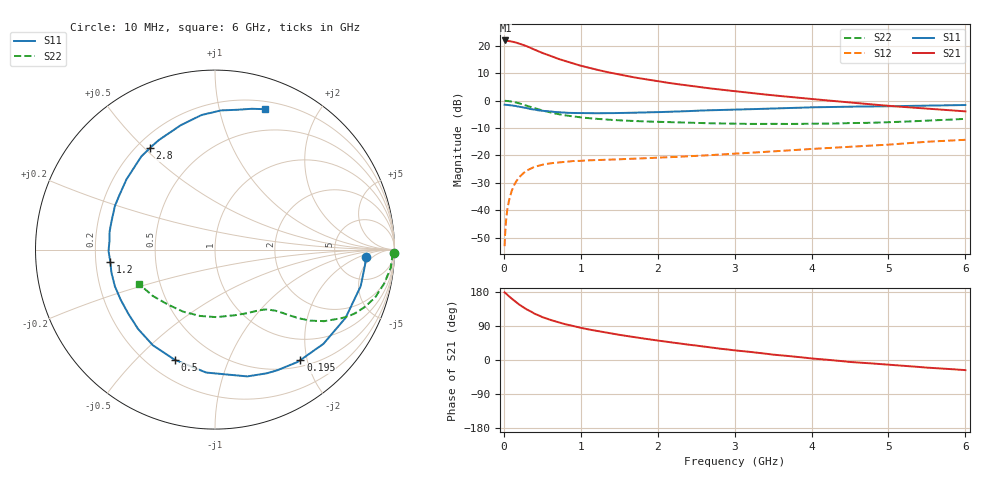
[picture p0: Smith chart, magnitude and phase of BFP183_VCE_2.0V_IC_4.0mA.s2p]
! Infineon Technologies  Discrete & RF Semiconductors
! BFP183
! VCE = 2.0 V,  IC =  4.0 mA
! Common Emitter S-Parameters:  Jan 2016
# GHz  S  MA  R  50
!  f  S11  S21  S12  S22
! GHz  MAG  ANG  MAG  ANG  MAG  ANG  MAG  ANG
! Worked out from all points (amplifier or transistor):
!   210 points, 10 MHz to 6 GHz, reference 50 ohm
!   highest |S21| = 22.0 dB at 20 MHz (marker M1)
!   |S21| within 3 dB of that: start of sweep to 370.5 MHz
!   unconditionally stable (mu >= 1): 1.662 GHz to 5.81 GHz
!   at 185 MHz: K = 0.14, MSG = 24.8 dB, |S12| = -28.5 dB
!   at 1.52 GHz: K = 0.94, MSG = 15.4 dB, |S12| = -21.4 dB
!   at 6 GHz: K = 0.96, MSG = 5.2 dB, |S12| = -14.3 dB
!   S11 on the Smith chart (normalised r, x): 10 MHz: 11, -3; 195 MHz: 0.60, -1.88; 500 MHz: 0.31, -0.66; 1.2 GHz: 0.26, -0.05; 2.8 GHz: 0.25, +0.52; 6 GHz: 0.27, +1.38
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0.01  0.8417 -2.8  12.47 178.4  0.0022 90.7  0.9957 -1.2
0.02  0.8403 -5.9  12.52 176.9  0.0044 85.4  0.9886 -2.3
0.05  0.8369 -14.1  12.38 171.1  0.0113 85.1  0.9845 -5.8
0.1  0.8209 -27.6  11.99 162.4  0.022 74.1  0.9613 -11.4
0.15  0.8004 -41.0  11.56 154.0  0.0317 68.2  0.9309 -16.7
0.195  0.7779 -52.3  11.08 147.1  0.0391 63.2  0.8949 -20.7
0.24  0.7564 -62.8  10.51 140.7  0.0453 58.2  0.8578 -24.4
0.3  0.7291 -75.7  9.803 133.3  0.0531 53.0  0.8027 -28.4
0.4  0.6868 -94.1  8.526 122.1  0.0618 45.2  0.7267 -33.3
0.5  0.6537 -110.0  7.42 113.2  0.0677 39.6  0.6613 -36.8
0.6  0.6356 -123.0  6.612 106.0  0.0716 35.7  0.6084 -39.1
0.7  0.6158 -134.1  5.823 99.9  0.0742 32.6  0.5678 -40.8
0.8  0.6005 -143.8  5.267 94.3  0.076 30.2  0.5366 -42.2
1.02  0.5928 -161.5  4.262 84.2  0.0798 27.0  0.4906 -44.6
1.2  0.5873 -173.5  3.684 77.1  0.0821 25.4  0.4651 -46.6
1.52  0.5957 169.4  2.959 65.8  0.085 25.0  0.4346 -50.2
2.02  0.6165 147.7  2.232 50.8  0.0912 25.5  0.4086 -57.4
2.8  0.6727 122.5  1.598 30.1  0.1031 27.1  0.3832 -72.5
3.1  0.6904 114.6  1.434 23.5  0.1094 27.7  0.3762 -79.3
4.1  0.7569 94.0  1.039 2.5  0.1334 26.6  0.3789 -105.6
5.1  0.7921 80.0  0.783 -13.8  0.1609 24.0  0.407 -133.1
6  0.8304 70.4  0.636 -26.7  0.1924 17.4  0.4639 -155.5
